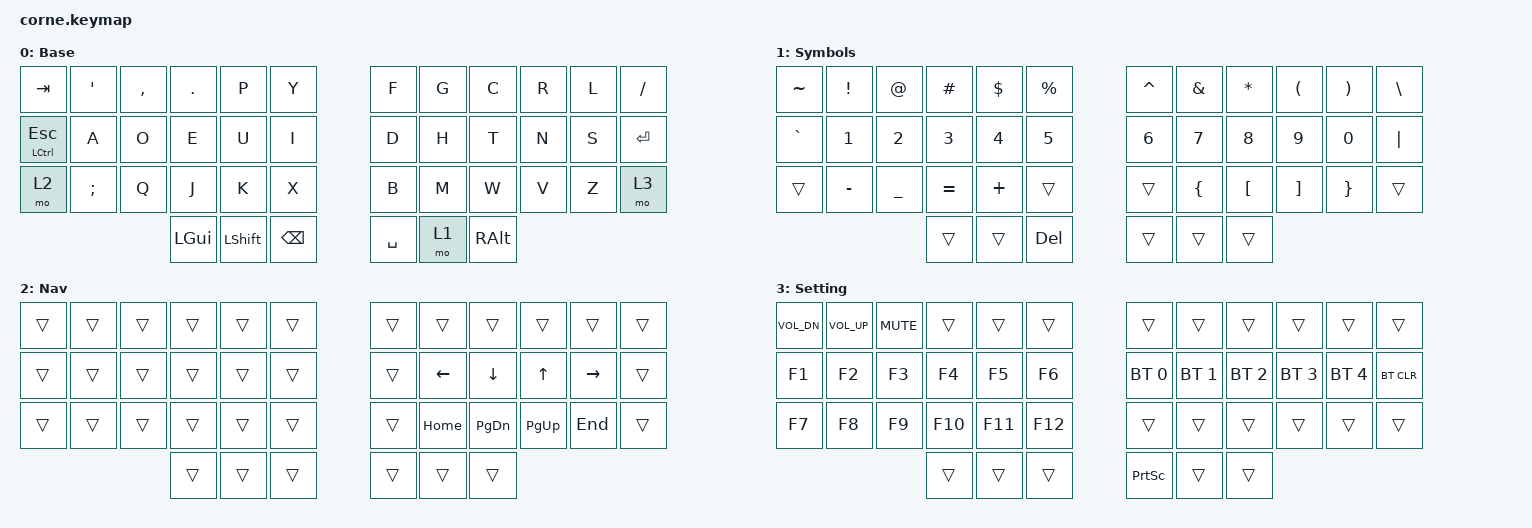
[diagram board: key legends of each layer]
/*
 * Copyright (c) 2020 The ZMK Contributors
 *
 * SPDX-License-Identifier: MIT
 */

#include <behaviors.dtsi>
#include <dt-bindings/zmk/keys.h>
#include <dt-bindings/zmk/bt.h>

#define DEFAULT 0;
#define SYMBOLS 1;
#define NAV 2;
#define SETTING 3;

/ {
    keymap {
        compatible = "zmk,keymap";

        default_layer {
            // +------------------------------------------------------------------------------+
            // |  TAB | ' " | , < | . > |  P   |  Y   |   |  F  |  G  |  C  |  R  |  L  | / ? |
            // | CTRL |  A  |  O  |  E  |  U   |  I   |   |  D  |  H  |  T  |  N  |  S  | RET |
            // |  NAV | ; : |  Q  |  J  |  K   |  X   |   |  B  |  M  |  W  |  V  |  Z  | SET |
            // +------------------| GUI | SHFT | BSPC |   | SPC | SYM | ALT |-----------------+
            //                    +-----------------------------------------+
            display-name = "Base";
            bindings = <
                &kp TAB       &kp APOS &kp COMMA &kp DOT   &kp P      &kp Y     &kp F     &kp G &kp C &kp R &kp L &kp FSLH
                &mt LCTRL ESC &kp A    &kp O     &kp E     &kp U      &kp I     &kp D     &kp H &kp T &kp N &kp S &kp RET
                &mo 2         &kp SEMI &kp Q     &kp J     &kp K      &kp X     &kp B     &kp M &kp W &kp V &kp Z &mo 3
                                                 &kp LGUI  &kp LSHIFT &kp BSPC  &kp SPACE &mo 1 &kp RALT
            >;
        };

        symbol_layer {
            // +---------------------------------------------------------------------------+
            // |  ~  |  !  |  @  |  #  |  $  |  %  |   |  ^  |  &  |  *  |  (  |  )  |  \  |
            // |  `  |  1  |  2  |  3  |  4  |  5  |   |  6  |  7  |  8  |  9  |  0  |  |  |
            // |     |  -  |  _  |  =  |  +  |     |   |     |  {  |  [  |  ]  |  }  |     |
            //                   |     |     | DEL |   |     |     |     |
            display-name = "Symbols";
            bindings = <
                &kp TILDE  &kp EXCL  &kp AT    &kp HASH  &kp DLLR &kp PRCNT &kp CARET &kp AMPS &kp STAR &kp LPAR &kp RPAR &kp BSLH
                &kp GRAVE  &kp N1    &kp N2    &kp N3    &kp N4   &kp N5    &kp N6    &kp N7   &kp N8   &kp N9   &kp N0   &kp PIPE
                &trans     &kp MINUS &kp UNDER &kp EQUAL &kp PLUS &trans    &trans    &kp LBRC &kp LBKT &kp RBKT &kp RBRC &trans
                                               &trans    &trans   &kp DEL   &trans    &trans   &trans
            >;
        };

        nav_layer {
            // +-------------------------------------------------------------------------------+
            // |     |     |     |     |     |     |   |     |      |      |      |      |     |
            // |     |     |     |     |     |     |   |     | LEFT | DOWN |  UP  | RGHT |     |
            // |     |     |     |     |     |     |   |     | HOME | PGDN | PGUP | END  |     |
            //                   |     |     |     |   |     |      |      |
            display-name = "Nav";
            bindings = <
                &trans &trans &trans &trans &trans &trans   &trans &trans   &trans    &trans    &trans    &trans
                &trans &trans &trans &trans &trans &trans   &trans &kp LEFT &kp DOWN  &kp UP    &kp RIGHT &trans
                &trans &trans &trans &trans &trans &trans   &trans &kp HOME &kp PG_DN &kp PG_UP &kp END   &trans
                                     &trans &trans &trans   &trans &trans   &trans
            >;
        };

        setting_layer {
            // +--------------------------------------------------------------------------------+
            // | VOL- | VOL+| MUTE|     |      |      |   |     |     |     |     |     |       |
            // | F1   | F2  | F3  | F4  | F5   | F6   |   | BT1 | BT2 | BT3 | BT4 | BT5 | BTCLR |
            // | F7   | F8  | F9  | F10 | F11  | F12  |   |     |     |     |     |     |       |
            //                    |     |      |      |   |PSCRN|     |     |
            display-name = "Setting";
            bindings = <
                &kp K_VOL_DN &kp K_VOL_UP &kp K_MUTE &trans  &trans   &trans   &trans       &trans       &trans        &trans        &trans       &trans
                &kp F1       &kp F2       &kp F3     &kp F4  &kp F5   &kp F6   &bt BT_SEL 0 &bt BT_SEL 1 &bt BT_SEL 2  &bt BT_SEL 3  &bt BT_SEL 4 &bt BT_CLR
                &kp F7       &kp F8       &kp F9     &kp F10 &kp F11  &kp F12  &trans       &trans       &trans        &trans        &trans       &trans
                                                     &trans  &trans   &trans   &kp PSCRN    &trans       &trans
            >;
        };

        extra_1 {
            status = "reserved";
        };

        extra_2 {
            status = "reserved";
        };

        extra_3 {
            status = "reserved";
        };
    };
};
